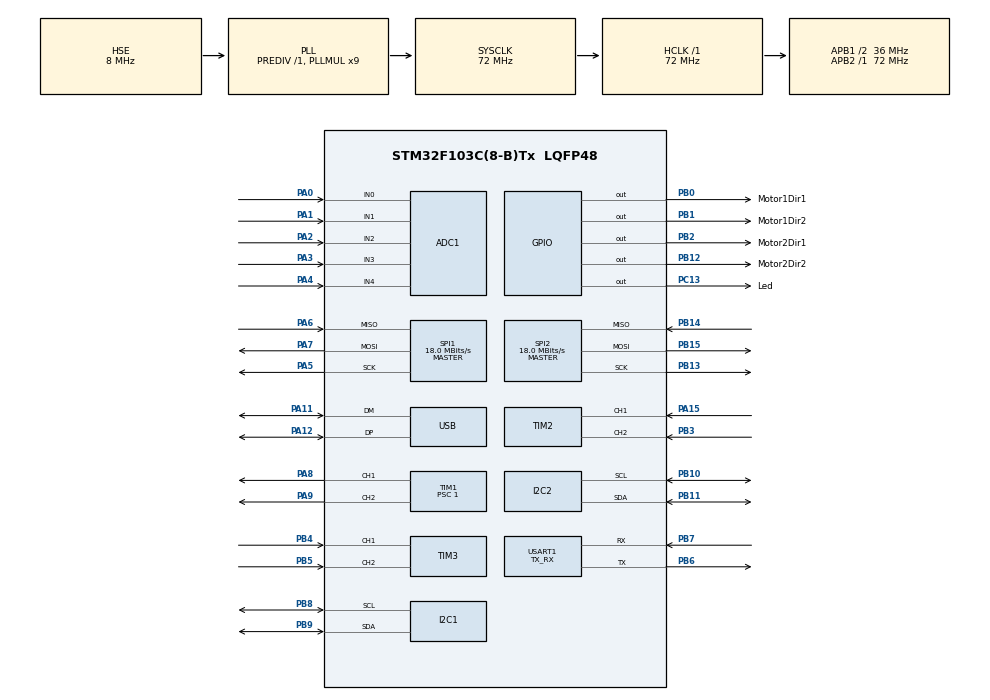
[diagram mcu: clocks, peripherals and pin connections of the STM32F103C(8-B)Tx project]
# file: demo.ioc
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ADC1.Channel-0\#ChannelRegularConversion=ADC_CHANNEL_0
ADC1.NbrOfConversionFlag=1
ADC1.Rank-0\#ChannelRegularConversion=1
ADC1.SamplingTime-0\#ChannelRegularConversion=ADC_SAMPLETIME_1CYCLE_5
ADC1.master=1
FREERTOS.INCLUDE_vTaskDelayUntil=1
FREERTOS.Mutexes01=myMutexPrintf,Dynamic,NULL
FREERTOS.Tasks01=defaultTask,0,128,StartDefaultTask,Default,NULL,Dynamic,NULL,NULL;myTaskMotor,-3,128,StartTaskMotor,Default,NULL,Dynamic,NULL,NULL;myTaskEncoder,-3,128,StartTaskEncoder,Default,NULL,Dynamic,NULL,NULL;myTaskAttitude,-3,128,StartTaskAttitude,Default,NULL,Dynamic,NULL,NULL;myTaskDistance,-3,128,StartTaskDistance,Default,NULL,Dynamic,NULL,NULL
FREERTOS.configTOTAL_HEAP_SIZE=4096
I2C1.I2C_Mode=I2C_Fast
I2C2.I2C_Mode=I2C_Fast
Mcu.Family=STM32F1
Mcu.Name=STM32F103C(8-B)Tx
Mcu.Package=LQFP48
NVIC.PriorityGroup=NVIC_PRIORITYGROUP_4
NVIC.TIM4_IRQn=true\:15\:0\:false\:false\:true\:false\:false\:true\:true
NVIC.TimeBase=TIM4_IRQn
NVIC.TimeBaseIP=TIM4
NVIC.USB_LP_CAN1_RX0_IRQn=true\:5\:0\:false\:false\:true\:true\:false\:true\:true
PA0-WKUP.Signal=ADCx_IN0
PA1.Signal=ADCx_IN1
PA11.Mode=Device
PA11.Signal=USB_DM
PA12.Mode=Device
PA12.Signal=USB_DP
PA13.Mode=Serial_Wire
PA13.Signal=SYS_JTMS-SWDIO
PA14.Mode=Serial_Wire
PA14.Signal=SYS_JTCK-SWCLK
PA15.GPIO_PuPd=GPIO_PULLUP
PA15.Signal=S_TIM2_CH1_ETR
PA2.Signal=ADCx_IN2
PA3.Signal=ADCx_IN3
PA4.Signal=ADCx_IN4
PA5.Mode=Full_Duplex_Master
PA5.Signal=SPI1_SCK
PA6.Mode=Full_Duplex_Master
PA6.Signal=SPI1_MISO
PA7.Mode=Full_Duplex_Master
PA7.Signal=SPI1_MOSI
PA8.Signal=S_TIM1_CH1
PA9.Signal=S_TIM1_CH2
PB0.GPIO_Label=Motor1Dir1
PB0.GPIO_PuPd=GPIO_PULLDOWN
PB0.Signal=GPIO_Output
PB1.GPIO_Label=Motor1Dir2
PB1.GPIO_PuPd=GPIO_PULLDOWN
PB1.Signal=GPIO_Output
PB10.Mode=I2C
PB10.Signal=I2C2_SCL
PB11.Mode=I2C
PB11.Signal=I2C2_SDA
PB12.GPIO_Label=Motor2Dir2
PB12.GPIO_PuPd=GPIO_PULLDOWN
PB12.Signal=GPIO_Output
PB13.Mode=Full_Duplex_Master
PB13.Signal=SPI2_SCK
PB14.Mode=Full_Duplex_Master
PB14.Signal=SPI2_MISO
PB15.Mode=Full_Duplex_Master
PB15.Signal=SPI2_MOSI
PB2.GPIO_Label=Motor2Dir1
PB2.GPIO_PuPd=GPIO_PULLDOWN
PB2.Signal=GPIO_Output
PB3.GPIO_PuPd=GPIO_PULLUP
PB3.Signal=S_TIM2_CH2
PB4.GPIO_PuPd=GPIO_PULLUP
PB4.Signal=S_TIM3_CH1
PB5.GPIO_PuPd=GPIO_PULLUP
PB5.Signal=S_TIM3_CH2
PB6.Mode=Asynchronous
PB6.Signal=USART1_TX
PB7.Mode=Asynchronous
PB7.Signal=USART1_RX
PB8.Mode=I2C
PB8.Signal=I2C1_SCL
PB9.Mode=I2C
PB9.Signal=I2C1_SDA
PC13-TAMPER-RTC.GPIO_Label=Led
PC13-TAMPER-RTC.GPIO_PuPd=GPIO_PULLUP
PC13-TAMPER-RTC.Signal=GPIO_Output
PC14-OSC32_IN.Mode=LSE-External-Oscillator
PC14-OSC32_IN.Signal=RCC_OSC32_IN
PC15-OSC32_OUT.Mode=LSE-External-Oscillator
PC15-OSC32_OUT.Signal=RCC_OSC32_OUT
PD0-OSC_IN.Mode=HSE-External-Oscillator
PD0-OSC_IN.Signal=RCC_OSC_IN
PD1-OSC_OUT.Mode=HSE-External-Oscillator
PD1-OSC_OUT.Signal=RCC_OSC_OUT
ProjectManager.HeapSize=0x200
ProjectManager.StackSize=0x400
ProjectManager.TargetToolchain=Makefile
RCC.ADCPresc=RCC_ADCPCLK2_DIV6
RCC.AHBFreq_Value=72000000
RCC.APB1CLKDivider=RCC_HCLK_DIV2
RCC.APB1Freq_Value=36000000
RCC.APB1TimFreq_Value=72000000
RCC.APB2Freq_Value=72000000
RCC.APB2TimFreq_Value=72000000
RCC.HCLKFreq_Value=72000000
RCC.PLLMUL=RCC_PLL_MUL9
RCC.PLLSourceVirtual=RCC_PLLSOURCE_HSE
RCC.SYSCLKFreq_VALUE=72000000
RCC.SYSCLKSource=RCC_SYSCLKSOURCE_PLLCLK
RCC.USBFreq_Value=48000000
RCC.USBPrescaler=RCC_USBCLKSOURCE_PLL_DIV1_5
SH.ADCx_IN0.0=ADC1_IN0,IN0
SH.ADCx_IN1.0=ADC1_IN1,IN1
SH.ADCx_IN2.0=ADC1_IN2,IN2
SH.ADCx_IN3.0=ADC1_IN3,IN3
SH.ADCx_IN4.0=ADC1_IN4,IN4
SH.S_TIM1_CH1.0=TIM1_CH1,PWM Generation1 CH1
SH.S_TIM1_CH2.0=TIM1_CH2,PWM Generation2 CH2
SH.S_TIM2_CH1_ETR.0=TIM2_CH1,Encoder_Interface
SH.S_TIM2_CH2.0=TIM2_CH2,Encoder_Interface
SH.S_TIM3_CH1.0=TIM3_CH1,Encoder_Interface
SH.S_TIM3_CH2.0=TIM3_CH2,Encoder_Interface
SPI1.BaudRatePrescaler=SPI_BAUDRATEPRESCALER_4
SPI1.CalculateBaudRate=18.0 MBits/s
SPI1.Direction=SPI_DIRECTION_2LINES
SPI1.Mode=SPI_MODE_MASTER
SPI1.VirtualType=VM_MASTER
SPI2.BaudRatePrescaler=SPI_BAUDRATEPRESCALER_2
SPI2.CalculateBaudRate=18.0 MBits/s
SPI2.Direction=SPI_DIRECTION_2LINES
SPI2.Mode=SPI_MODE_MASTER
SPI2.VirtualType=VM_MASTER
TIM1.Channel-PWM\ Generation1\ CH1=TIM_CHANNEL_1
TIM1.Channel-PWM\ Generation2\ CH2=TIM_CHANNEL_2
TIM1.Period=1799
TIM1.Prescaler=1
TIM2.EncoderMode=TIM_ENCODERMODE_TI12
TIM3.EncoderMode=TIM_ENCODERMODE_TI12
USART1.Mode=MODE_TX_RX
USART1.VirtualMode=VM_ASYNC
USB_DEVICE.CLASS_NAME_FS=CDC
USB_DEVICE.VirtualMode=Cdc
USB_DEVICE.VirtualModeFS=Cdc_FS
VP_FREERTOS_VS_CMSIS_V1.Mode=CMSIS_V1
VP_RTC_VS_RTC_Activate.Mode=RTC_Enabled
VP_SYS_VS_tim4.Mode=TIM4
VP_USB_DEVICE_VS_USB_DEVICE_CDC_FS.Mode=CDC_FS
board=custom

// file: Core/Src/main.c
/* USER CODE BEGIN Header */
/**
  ******************************************************************************
  * @file           : main.c
  * @brief          : Main program body
  ******************************************************************************
  * @attention
  *
  * Copyright (c) 2023 STMicroelectronics.
  * All rights reserved.
  *
  * This software is licensed under terms that can be found in the LICENSE file
  * in the root directory of this software component.
  * If no LICENSE file comes with this software, it is provided AS-IS.
  *
  ******************************************************************************
  */
/* USER CODE END Header */
#include "main.h"
#include "cmsis_os.h"
#include "adc.h"
#include "i2c.h"
#include "rtc.h"
#include "spi.h"
#include "tim.h"
#include "usart.h"
#include "usb_device.h"
#include "gpio.h"

void SystemClock_Config(void);
void MX_FREERTOS_Init(void);

int main(void)
{

  /* MCU Configuration--------------------------------------------------------*/

  /* Reset of all peripherals, Initializes the Flash interface and the Systick. */
  HAL_Init();

  /* Configure the system clock */
  SystemClock_Config();

  /* Initialize all configured peripherals */
  MX_GPIO_Init();
  MX_TIM1_Init();
  MX_TIM2_Init();
  MX_TIM3_Init();
  MX_USART1_UART_Init();
  MX_ADC1_Init();
  MX_I2C1_Init();
  MX_I2C2_Init();
  MX_RTC_Init();
  MX_SPI1_Init();
  MX_SPI2_Init();

  /* Call init function for freertos objects (in freertos.c) */
  MX_FREERTOS_Init();

  /* Start scheduler */
  osKernelStart();

  /* We should never get here as control is now taken by the scheduler */
  /* Infinite loop */
  while (1)
  {

  }
}

void SystemClock_Config(void)
{
  RCC_OscInitTypeDef RCC_OscInitStruct = {0};
  RCC_ClkInitTypeDef RCC_ClkInitStruct = {0};
  RCC_PeriphCLKInitTypeDef PeriphClkInit = {0};

  /** Initializes the RCC Oscillators according to the specified parameters
  * in the RCC_OscInitTypeDef structure.
  */
  RCC_OscInitStruct.OscillatorType = RCC_OSCILLATORTYPE_LSI|RCC_OSCILLATORTYPE_HSE;
  RCC_OscInitStruct.HSEState = RCC_HSE_ON;
  RCC_OscInitStruct.HSEPredivValue = RCC_HSE_PREDIV_DIV1;
  RCC_OscInitStruct.HSIState = RCC_HSI_ON;
  RCC_OscInitStruct.LSIState = RCC_LSI_ON;
  RCC_OscInitStruct.PLL.PLLState = RCC_PLL_ON;
  RCC_OscInitStruct.PLL.PLLSource = RCC_PLLSOURCE_HSE;
  RCC_OscInitStruct.PLL.PLLMUL = RCC_PLL_MUL9;
  if (HAL_RCC_OscConfig(&RCC_OscInitStruct) != HAL_OK)
  {
    Error_Handler();
  }

  /** Initializes the CPU, AHB and APB buses clocks
  */
  RCC_ClkInitStruct.ClockType = RCC_CLOCKTYPE_HCLK|RCC_CLOCKTYPE_SYSCLK
                              |RCC_CLOCKTYPE_PCLK1|RCC_CLOCKTYPE_PCLK2;
  RCC_ClkInitStruct.SYSCLKSource = RCC_SYSCLKSOURCE_PLLCLK;
  RCC_ClkInitStruct.AHBCLKDivider = RCC_SYSCLK_DIV1;
  RCC_ClkInitStruct.APB1CLKDivider = RCC_HCLK_DIV2;
  RCC_ClkInitStruct.APB2CLKDivider = RCC_HCLK_DIV1;

  if (HAL_RCC_ClockConfig(&RCC_ClkInitStruct, FLASH_LATENCY_2) != HAL_OK)
  {
    Error_Handler();
  }
  PeriphClkInit.PeriphClockSelection = RCC_PERIPHCLK_RTC|RCC_PERIPHCLK_ADC
                              |RCC_PERIPHCLK_USB;
  PeriphClkInit.RTCClockSelection = RCC_RTCCLKSOURCE_LSI;
  PeriphClkInit.AdcClockSelection = RCC_ADCPCLK2_DIV6;
  PeriphClkInit.UsbClockSelection = RCC_USBCLKSOURCE_PLL_DIV1_5;
  if (HAL_RCCEx_PeriphCLKConfig(&PeriphClkInit) != HAL_OK)
  {
    Error_Handler();
  }
}

void HAL_TIM_PeriodElapsedCallback(TIM_HandleTypeDef *htim)
{
  if (htim->Instance == TIM4) {
    HAL_IncTick();
  }
}

void Error_Handler(void)
{
  __disable_irq();
  while (1)
  {
  }
}

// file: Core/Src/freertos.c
/* USER CODE BEGIN Header */
/**
  ******************************************************************************
  * File Name          : freertos.c
  * Description        : Code for freertos applications
  ******************************************************************************
  * @attention
  *
  * Copyright (c) 2023 STMicroelectronics.
  * All rights reserved.
  *
  * This software is licensed under terms that can be found in the LICENSE file
  * in the root directory of this software component.
  * If no LICENSE file comes with this software, it is provided AS-IS.
  *
  ******************************************************************************
  */
/* USER CODE END Header */

#include "FreeRTOS.h"
#include "task.h"
#include "main.h"
#include "cmsis_os.h"

/* USER CODE BEGIN Includes */
#include "stdio.h"
#include "tim.h"
#include "mpu6050.h"
#include "vl6180x_api.h"
/* USER CODE END Includes */

osThreadId defaultTaskHandle;
osThreadId myTaskMotorHandle;
osThreadId myTaskEncoderHandle;
osThreadId myTaskAttitudeHandle;
osThreadId myTaskDistanceHandle;
osMutexId myMutexPrintfHandle;

void StartDefaultTask(void const * argument);
void StartTaskMotor(void const * argument);
void StartTaskEncoder(void const * argument);
void StartTaskAttitude(void const * argument);
void StartTaskDistance(void const * argument);

extern void MX_USB_DEVICE_Init(void);
void MX_FREERTOS_Init(void); /* (MISRA C 2004 rule 8.1) */

/* GetIdleTaskMemory prototype (linked to static allocation support) */
void vApplicationGetIdleTaskMemory( StaticTask_t **ppxIdleTaskTCBBuffer, StackType_t **ppxIdleTaskStackBuffer, uint32_t *pulIdleTaskStackSize );

/* USER CODE BEGIN GET_IDLE_TASK_MEMORY */
static StaticTask_t xIdleTaskTCBBuffer;
static StackType_t xIdleStack[configMINIMAL_STACK_SIZE];

void vApplicationGetIdleTaskMemory( StaticTask_t **ppxIdleTaskTCBBuffer, StackType_t **ppxIdleTaskStackBuffer, uint32_t *pulIdleTaskStackSize )
{
  *ppxIdleTaskTCBBuffer = &xIdleTaskTCBBuffer;
  *ppxIdleTaskStackBuffer = &xIdleStack[0];
  *pulIdleTaskStackSize = configMINIMAL_STACK_SIZE;
  /* place for user code */
}
/* USER CODE END GET_IDLE_TASK_MEMORY */

void MX_FREERTOS_Init(void) {
  /* Create the mutex(es) */
  /* definition and creation of myMutexPrintf */
  osMutexDef(myMutexPrintf);
  myMutexPrintfHandle = osMutexCreate(osMutex(myMutexPrintf));

  /* Create the thread(s) */
  /* definition and creation of defaultTask */
  osThreadDef(defaultTask, StartDefaultTask, osPriorityNormal, 0, 128);
  defaultTaskHandle = osThreadCreate(osThread(defaultTask), NULL);

  /* definition and creation of myTaskMotor */
  osThreadDef(myTaskMotor, StartTaskMotor, osPriorityIdle, 0, 128);
  myTaskMotorHandle = osThreadCreate(osThread(myTaskMotor), NULL);

  /* definition and creation of myTaskEncoder */
  osThreadDef(myTaskEncoder, StartTaskEncoder, osPriorityIdle, 0, 128);
  myTaskEncoderHandle = osThreadCreate(osThread(myTaskEncoder), NULL);

  /* definition and creation of myTaskAttitude */
  osThreadDef(myTaskAttitude, StartTaskAttitude, osPriorityIdle, 0, 128);
  myTaskAttitudeHandle = osThreadCreate(osThread(myTaskAttitude), NULL);

  /* definition and creation of myTaskDistance */
  osThreadDef(myTaskDistance, StartTaskDistance, osPriorityIdle, 0, 128);
  myTaskDistanceHandle = osThreadCreate(osThread(myTaskDistance), NULL);

}

void StartDefaultTask(void const * argument)
{
  /* init code for USB_DEVICE */
  MX_USB_DEVICE_Init();
  /* USER CODE BEGIN StartDefaultTask */
  /* Infinite loop */
  for(;;)
  {
    HAL_GPIO_TogglePin(Led_GPIO_Port, Led_Pin);
    printf("hello\r\n");
    osDelay(1000);
  }
  /* USER CODE END StartDefaultTask */
}

void StartTaskMotor(void const * argument)
{
  /* USER CODE BEGIN StartTaskMotor */
  HAL_TIM_PWM_Start(&htim1, TIM_CHANNEL_1); // 启动通道1的PWM
  HAL_TIM_PWM_Start(&htim1, TIM_CHANNEL_2); // 启动通道2的PWM
  // __HAL_TIM_SET_COMPARE(&htim1, TIM_CHANNEL_1, 900 - 1);
  // __HAL_TIM_SET_COMPARE(&htim1, TIM_CHANNEL_2, 900 - 1);
  /* Infinite loop */
  for(;;)
  {
    HAL_GPIO_WritePin(Motor1Dir1_GPIO_Port, Motor1Dir1_Pin, GPIO_PIN_SET);
    HAL_GPIO_WritePin(Motor1Dir2_GPIO_Port, Motor1Dir2_Pin, GPIO_PIN_RESET);
    HAL_GPIO_WritePin(Motor2Dir1_GPIO_Port, Motor2Dir1_Pin, GPIO_PIN_SET);
    HAL_GPIO_WritePin(Motor2Dir2_GPIO_Port, Motor2Dir2_Pin, GPIO_PIN_RESET);
    osDelay(1000);
  }
  /* USER CODE END StartTaskMotor */
}

void StartTaskEncoder(void const * argument)
{
  /* USER CODE BEGIN StartTaskEncoder */
  HAL_TIM_Encoder_Start(&htim2,TIM_CHANNEL_1 | TIM_CHANNEL_2);
  HAL_TIM_Encoder_Start(&htim3,TIM_CHANNEL_1 | TIM_CHANNEL_2);
  /* Infinite loop */
  for(;;)
  {
    int Direction = __HAL_TIM_IS_TIM_COUNTING_DOWN(&htim2);
    int CaptureNumber = (short)__HAL_TIM_GET_COUNTER(&htim2);
    __HAL_TIM_GET_COUNTER(&htim2) = 0;
    printf("Direction1 is %d \r\n", Direction);
    printf("CaptureNumber1 is %d \r\n", CaptureNumber);
    int Direction2 = __HAL_TIM_IS_TIM_COUNTING_DOWN(&htim3);
    int CaptureNumber2 = (short)__HAL_TIM_GET_COUNTER(&htim3);
    __HAL_TIM_GET_COUNTER(&htim3) = 0;
    printf("Direction2 is %d \r\n", Direction2);
    printf("CaptureNumber2 is %d \r\n", CaptureNumber2);
    HAL_Delay(1000);
  }
  /* USER CODE END StartTaskEncoder */
}

void StartTaskAttitude(void const * argument)
{
  /* USER CODE BEGIN StartTaskAttitude */
  MPU6050_t MPU6050;
  while (MPU6050_Init(&hi2c1) == 1);
  /* Infinite loop */
  for(;;)
  {
    MPU6050_Read_All(&hi2c1, &MPU6050);
    printf("KalmanAngleX %f \r\n",MPU6050.KalmanAngleX);
    printf("KalmanAngleY %f \r\n",MPU6050.KalmanAngleY);
    osDelay(1000);
  }
  /* USER CODE END StartTaskAttitude */
}

void StartTaskDistance(void const * argument)
{
  /* USER CODE BEGIN StartTaskDistance */
	VL6180xDev_t myDev = 0x52;
	VL6180x_RangeData_t Range;

	VL6180x_InitData(myDev);
	VL6180x_Prepare(myDev);
  /* Infinite loop */
  for(;;)
  {
    VL6180x_RangePollMeasurement(myDev, &Range);
    if (Range.errorStatus == 0)
      printf("range in mm:%ld \r\n", Range.range_mm);
    else
      printf("error code:%ld \r\n", Range.errorStatus);
    osDelay(1000);
  }
  /* USER CODE END StartTaskDistance */
}
